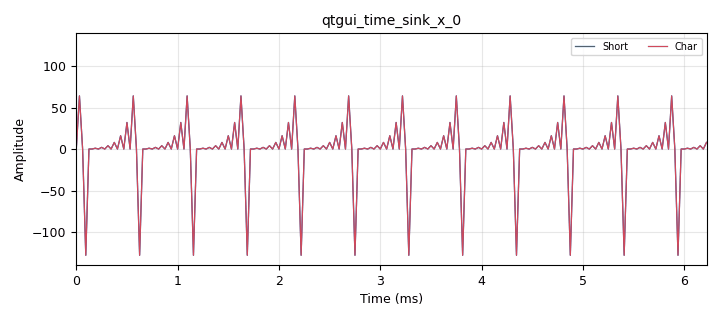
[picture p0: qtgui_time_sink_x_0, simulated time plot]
<?xml version='1.0' encoding='utf-8'?>
<?grc format='1' created='3.7.7'?>
<flow_graph>
<block>
<key>options</key>
<param><key>id</key><value>blocks_char_to_short</value></param>
<param><key>generate_options</key><value>qt_gui</value></param>
<param><key>category</key><value>Custom</value></param>
<param><key>run_options</key><value>run</value></param>
</block>
<block>
<key>variable</key>
<param><key>id</key><value>samp_rate</value></param>
<param><key>value</key><value>32000</value></param>
</block>
<block>
<key>blocks_char_to_short</key>
<param><key>id</key><value>blocks_char_to_short_0</value></param>
</block>
<block>
<key>blocks_vector_source_x</key>
<param><key>id</key><value>blocks_vector_source_x_0</value></param>
<param><key>type</key><value>byte</value></param>
<param><key>vector</key><value>(0, 1, 0, 2, 0, 4, 0, 8, 0, 16, 0, 32, 0, 64, 0, 128, 0,)</value></param>
<param><key>repeat</key><value>True</value></param>
</block>
<block>
<key>blocks_char_to_float</key>
<param><key>id</key><value>blocks_char_to_float_0</value></param>
<param><key>scale</key><value>1</value></param>
</block>
<block>
<key>blocks_short_to_float</key>
<param><key>id</key><value>blocks_short_to_float_0</value></param>
<param><key>scale</key><value>256</value></param>
</block>
<block>
<key>qtgui_time_sink_x</key>
<param><key>id</key><value>qtgui_time_sink_x_0</value></param>
<param><key>type</key><value>float</value></param>
<param><key>size</key><value>200</value></param>
<param><key>srate</key><value>samp_rate</value></param>
<param><key>ymin</key><value>-140</value></param>
<param><key>ymax</key><value>140</value></param>
<param><key>nconnections</key><value>2</value></param>
<param><key>tr_mode</key><value>qtgui.TRIG_MODE_NORM</value></param>
<param><key>tr_level</key><value>40</value></param>
<param><key>label1</key><value>Short</value></param>
<param><key>color1</key><value>"blue"</value></param>
<param><key>label2</key><value>Char</value></param>
<param><key>color2</key><value>"red"</value></param>
</block>
<connection><source_block_id>blocks_vector_source_x_0</source_block_id><sink_block_id>blocks_char_to_short_0</sink_block_id><source_key>0</source_key><sink_key>0</sink_key></connection>
<connection><source_block_id>blocks_vector_source_x_0</source_block_id><sink_block_id>blocks_char_to_float_0</sink_block_id><source_key>0</source_key><sink_key>0</sink_key></connection>
<connection><source_block_id>blocks_char_to_short_0</source_block_id><sink_block_id>blocks_short_to_float_0</sink_block_id><source_key>0</source_key><sink_key>0</sink_key></connection>
<connection><source_block_id>blocks_short_to_float_0</source_block_id><sink_block_id>qtgui_time_sink_x_0</sink_block_id><source_key>0</source_key><sink_key>0</sink_key></connection>
<connection><source_block_id>blocks_char_to_float_0</source_block_id><sink_block_id>qtgui_time_sink_x_0</sink_block_id><source_key>0</source_key><sink_key>1</sink_key></connection>
</flow_graph>
